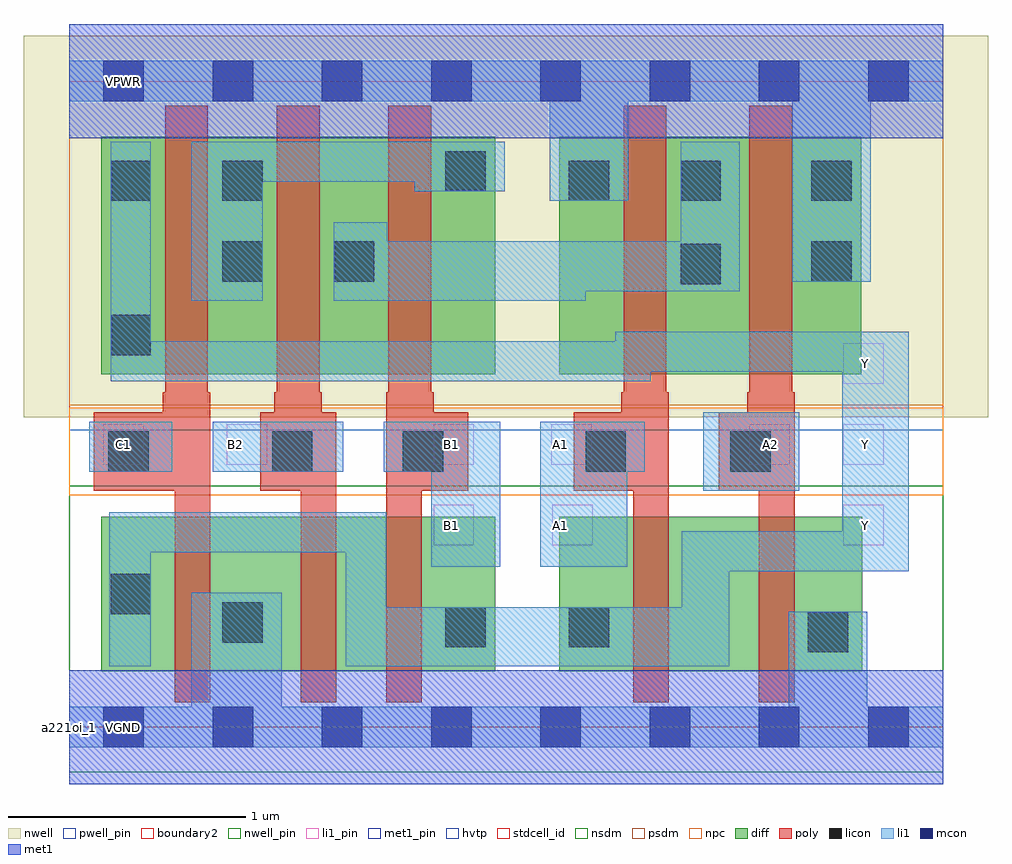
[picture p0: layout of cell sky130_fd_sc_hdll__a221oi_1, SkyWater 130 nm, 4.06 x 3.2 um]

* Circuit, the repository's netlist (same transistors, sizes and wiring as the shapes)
* Copyright 2020 The SkyWater PDK Authors
*
* Licensed under the Apache License, Version 2.0 (the "License");
* you may not use this file except in compliance with the License.
* You may obtain a copy of the License at
*
*     https://www.apache.org/licenses/LICENSE-2.0
*
* Unless required by applicable law or agreed to in writing, software
* distributed under the License is distributed on an "AS IS" BASIS,
* WITHOUT WARRANTIES OR CONDITIONS OF ANY KIND, either express or implied.
* See the License for the specific language governing permissions and
* limitations under the License.
*
* SPDX-License-Identifier: Apache-2.0

.SUBCKT sky130_fd_sc_hdll__a221oi_1 A1 A2 B1 B2 C1 VGND VNB VPB VPWR Y
*.PININFO A1:I A2:I B1:I B2:I C1:I VGND:I VNB:I VPB:I VPWR:I Y:O
MMPA0 pndA A1 VPWR VPB sky130_fd_pr__pfet_01v8_hvt m=1 w=1.0U l=0.18U mult=1 sa=0.265
+ sb=0.265 sd=0.28 area=0.063 perim=1.14
MMPA1 pndA A2 VPWR VPB sky130_fd_pr__pfet_01v8_hvt m=1 w=1.0U l=0.18U mult=1 sa=0.265
+ sb=0.265 sd=0.28 area=0.063 perim=1.14
MMPB0 pndB B1 pndA VPB sky130_fd_pr__pfet_01v8_hvt m=1 w=1.0U l=0.18U mult=1 sa=0.265
+ sb=0.265 sd=0.28 area=0.063 perim=1.14
MMPB1 pndB B2 pndA VPB sky130_fd_pr__pfet_01v8_hvt m=1 w=1.0U l=0.18U mult=1 sa=0.265
+ sb=0.265 sd=0.28 area=0.063 perim=1.14
MMPC0 Y C1 pndB VPB sky130_fd_pr__pfet_01v8_hvt m=1 w=1.0U l=0.18U mult=1 sa=0.265
+ sb=0.265 sd=0.28 area=0.063 perim=1.14
MMNA0 Y A1 sndA1 VNB sky130_fd_pr__nfet_01v8 m=1 w=0.65U l=0.15U mult=1 sa=0.265
+ sb=0.265 sd=0.28 area=0.063 perim=1.14
MMNA1 sndA1 A2 VGND VNB sky130_fd_pr__nfet_01v8 m=1 w=0.65U l=0.15U mult=1 sa=0.265
+ sb=0.265 sd=0.28 area=0.063 perim=1.14
MMNB0 Y B1 sndB1 VNB sky130_fd_pr__nfet_01v8 m=1 w=0.65U l=0.15U mult=1 sa=0.265
+ sb=0.265 sd=0.28 area=0.063 perim=1.14
MMNB1 sndB1 B2 VGND VNB sky130_fd_pr__nfet_01v8 m=1 w=0.65U l=0.15U mult=1 sa=0.265
+ sb=0.265 sd=0.28 area=0.063 perim=1.14
MMNC0 Y C1 VGND VNB sky130_fd_pr__nfet_01v8 m=1 w=0.65U l=0.15U mult=1 sa=0.265
+ sb=0.265 sd=0.28 area=0.063 perim=1.14
.ENDS sky130_fd_sc_hdll__a221oi_1

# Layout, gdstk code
import gdstk
lib = gdstk.Library(unit=1e-6, precision=1e-09)
def R(c, l, rs):  # rectangles x0, y0, x1, y1
    for r in rs: c.add(gdstk.rectangle(r[:2], r[2:], *l))
def A(c, l, x, y, w, h, nx, ny, dx, dy):  # array of equal rectangles
    R(c, l, [(x+i*dx, y+j*dy, x+i*dx+w, y+j*dy+h) for i in range(nx) for j in range(ny)])
def P(c, l, *ps):  # polygons
    for p in ps: c.add(gdstk.Polygon(p, *l))
nwell_pin = (64, 16)
nwell = (64, 20)
diff = (65, 20)
poly = (66, 20)
licon = (66, 44)
li1_pin = (67, 16)
li1 = (67, 20)
mcon = (67, 44)
met1_pin = (68, 16)
met1 = (68, 20)
hvtp = (78, 44)
stdcell_id = (81, 4)
nsdm = (93, 44)
psdm = (94, 20)
npc = (95, 20)
pwell_pin = (122, 16)
boundary2 = (236, 0)

sky130_fd_sc_hdll__a221o = lib.new_cell('sky130_fd_sc_hdll__a221oi_1')
R(sky130_fd_sc_hdll__a221o, nwell_pin, [(0.145,2.635,0.315,2.805)])
R(sky130_fd_sc_hdll__a221o, nwell, [(-0.19,1.305,3.87,2.91)])
R(sky130_fd_sc_hdll__a221o, diff, [(0.135,0.235,1.795,0.885), (2.065,0.235,3.34,0.885), (0.135,1.485,1.795,2.485), (2.065,1.485,3.335,2.485)])
P(sky130_fd_sc_hdll__a221o, poly, [(0.595,1.41),(0.585,1.41),(0.585,2.615),(0.405,2.615),(0.405,1.41),(0.395,1.41),(0.395,1.325),(0.105,1.325),(0.105,0.995),(0.445,0.995),(0.445,0.105),(0.595,0.105)],
  [(1.125,1.325),(1.065,1.325),(1.065,1.41),(1.055,1.41),(1.055,2.615),(0.875,2.615),(0.875,1.41),(0.865,1.41),(0.865,1.325),(0.805,1.325),(0.805,0.995),(0.975,0.995),(0.975,0.105),(1.125,0.105)],
  [(1.68,1.325),(1.535,1.325),(1.535,1.41),(1.525,1.41),(1.525,2.615),(1.345,2.615),(1.345,1.41),(1.335,1.41),(1.335,0.105),(1.485,0.105),(1.485,0.995),(1.68,0.995)],
  [(2.525,1.41),(2.515,1.41),(2.515,2.615),(2.335,2.615),(2.335,1.41),(2.325,1.41),(2.325,1.325),(2.125,1.325),(2.125,0.995),(2.375,0.995),(2.375,0.105),(2.525,0.105)],
  [(3.055,1.41),(3.045,1.41),(3.045,2.615),(2.865,2.615),(2.865,1.41),(2.855,1.41),(2.855,1.325),(2.735,1.325),(2.735,0.995),(2.905,0.995),(2.905,0.105),(3.055,0.105)])
R(sky130_fd_sc_hdll__a221o, licon, [(3.11,0.315,3.28,0.485), (1.585,0.335,1.755,0.505), (2.105,0.335,2.275,0.505), (0.645,0.355,0.815,0.525), (0.175,0.475,0.345,0.645), (0.165,1.075,0.335,1.245), (0.855,1.075,1.025,1.245), (1.405,1.075,1.575,1.245), (2.175,1.075,2.345,1.245), (2.785,1.075,2.955,1.245), (0.175,1.565,0.345,1.735), (2.575,1.865,2.745,2.035), (0.645,1.875,0.815,2.045), (1.115,1.875,1.285,2.045), (3.125,1.875,3.295,2.045), (0.175,2.215,0.345,2.385), (0.645,2.215,0.815,2.385), (2.105,2.215,2.275,2.385), (2.575,2.215,2.745,2.385), (3.125,2.215,3.295,2.385), (1.585,2.255,1.755,2.425)])
A(sky130_fd_sc_hdll__a221o, li1_pin, 3.26, 0.765, 0.17, 0.17, 1, 3, 0, 0.34)
R(sky130_fd_sc_hdll__a221o, li1_pin, [(1.535,0.765,1.705,0.935), (2.035,0.765,2.205,0.935), (0.145,1.105,0.315,1.275), (0.665,1.105,0.835,1.275), (1.535,1.105,1.705,1.275), (2.03,1.105,2.2,1.275), (2.865,1.105,3.035,1.275)])
R(sky130_fd_sc_hdll__a221o, li1, [(2.67,0.995,3.075,1.325), (0.085,1.075,0.435,1.285), (0.605,1.075,1.155,1.285)])
P(sky130_fd_sc_hdll__a221o, li1, [(3.68,2.805),(0,2.805),(0,2.635),(2.025,2.635),(2.025,2.215),(2.355,2.215),(2.355,2.635),(3.045,2.635),(3.045,1.875),(3.375,1.875),(3.375,2.635),(3.68,2.635)],
  [(3.68,0.085),(3.36,0.085),(3.36,0.485),(3.03,0.485),(3.03,0.085),(0.895,0.085),(0.895,0.565),(0.515,0.565),(0.515,0.085),(0,0.085),(0,-0.085),(3.68,-0.085)],
  [(3.535,1.665),(2.3,1.665),(2.3,1.625),(0.345,1.625),(0.345,2.465),(0.175,2.465),(0.175,1.455),(2.45,1.455),(2.45,1.495),(3.255,1.495),(3.255,0.825),(2.58,0.825),(2.58,0.505),(1.335,0.505),(1.335,0.905),(0.17,0.905),(0.17,0.255),(0.345,0.255),(0.345,0.735),(1.165,0.735),(1.165,0.255),(2.78,0.255),(2.78,0.655),(3.535,0.655)],
  [(2.825,2.465),(2.575,2.465),(2.575,2.045),(1.34,2.045),(1.34,2.125),(1.115,2.125),(1.115,1.795),(2.175,1.795),(2.175,1.835),(2.825,1.835)],
  [(1.835,2.465),(0.515,2.465),(0.515,1.795),(0.815,1.795),(0.815,2.295),(1.455,2.295),(1.455,2.255),(1.835,2.255)],
  [(2.425,1.285),(1.985,1.285),(1.985,0.675),(2.35,0.675),(2.35,1.075),(2.425,1.075)],
  [(1.815,1.285),(1.325,1.285),(1.325,1.075),(1.525,1.075),(1.525,0.675),(1.815,0.675)])
A(sky130_fd_sc_hdll__a221o, mcon, 0.145, -0.085, 0.17, 0.17, 8, 2, 0.46, 2.72)
R(sky130_fd_sc_hdll__a221o, met1_pin, [(0.145,-0.085,0.315,0.085), (0.145,2.635,0.315,2.805)])
R(sky130_fd_sc_hdll__a221o, met1, [(0,-0.24,3.68,0.24), (0,2.48,3.68,2.96)])
R(sky130_fd_sc_hdll__a221o, hvtp, [(0,1.25,3.68,2.72)])
R(sky130_fd_sc_hdll__a221o, stdcell_id, [(0,0,3.68,2.72)])
R(sky130_fd_sc_hdll__a221o, nsdm, [(0,-0.19,3.68,1.015)])
R(sky130_fd_sc_hdll__a221o, psdm, [(0,1.355,3.68,2.91)])
R(sky130_fd_sc_hdll__a221o, npc, [(0,0.975,3.68,1.345)])
R(sky130_fd_sc_hdll__a221o, pwell_pin, [(0.145,-0.085,0.315,0.085)])
R(sky130_fd_sc_hdll__a221o, boundary2, [(0,0,3.68,2.72)])
sky130_fd_sc_hdll__a221o.add(gdstk.Label('Y', (3.355,0.85), layer=67, texttype=5))
sky130_fd_sc_hdll__a221o.add(gdstk.Label('Y', (3.355,1.53), layer=67, texttype=5))
sky130_fd_sc_hdll__a221o.add(gdstk.Label('Y', (3.355,1.19), layer=67, texttype=5))
sky130_fd_sc_hdll__a221o.add(gdstk.Label('C1', (0.23,1.19), layer=67, texttype=5))
sky130_fd_sc_hdll__a221o.add(gdstk.Label('A1', (2.07,1.19), layer=67, texttype=5))
sky130_fd_sc_hdll__a221o.add(gdstk.Label('A2', (2.955,1.19), layer=67, texttype=5))
sky130_fd_sc_hdll__a221o.add(gdstk.Label('B2', (0.7,1.19), layer=67, texttype=5))
sky130_fd_sc_hdll__a221o.add(gdstk.Label('B1', (1.61,1.19), layer=67, texttype=5))
sky130_fd_sc_hdll__a221o.add(gdstk.Label('A1', (2.07,0.85), layer=67, texttype=5))
sky130_fd_sc_hdll__a221o.add(gdstk.Label('B1', (1.61,0.85), layer=67, texttype=5))
sky130_fd_sc_hdll__a221o.add(gdstk.Label('VGND', (0.23,0), layer=68, texttype=5))
sky130_fd_sc_hdll__a221o.add(gdstk.Label('VPWR', (0.23,2.72), layer=68, texttype=5))
sky130_fd_sc_hdll__a221o.add(gdstk.Label('VPB', (0.23,2.72), layer=64, texttype=5))
sky130_fd_sc_hdll__a221o.add(gdstk.Label('VNB', (0.23,0), layer=64, texttype=59))
sky130_fd_sc_hdll__a221o.add(gdstk.Label('a221oi_1', (0,0), layer=83, texttype=44))

lib.write_gds('sky130_fd_sc_hdll__a221oi_1.gds')
